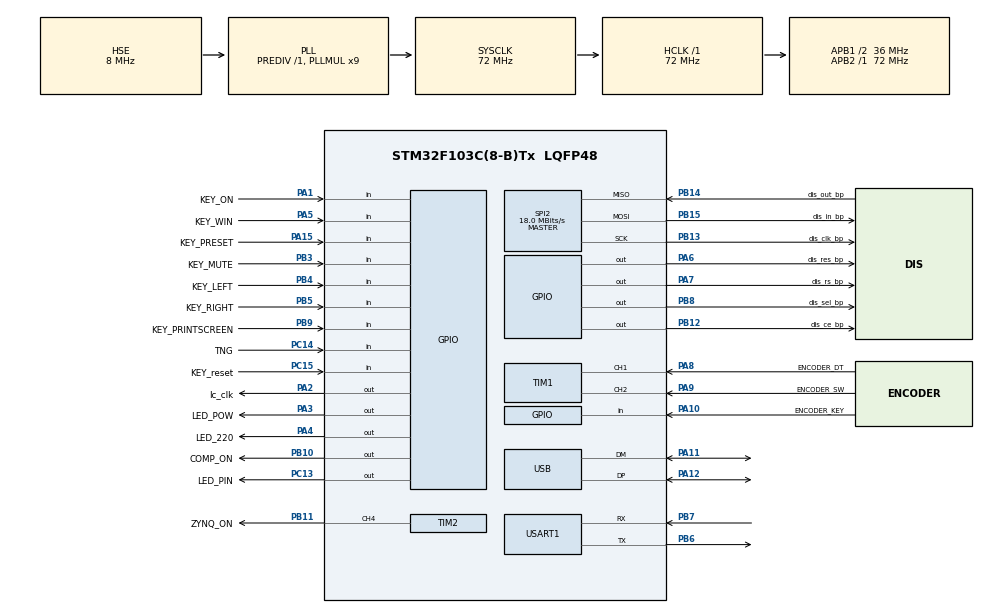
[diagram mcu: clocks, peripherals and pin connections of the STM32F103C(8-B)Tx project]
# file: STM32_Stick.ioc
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Dma.Request0=USART1_RX
Dma.Request1=USART1_TX
Dma.USART1_RX.0.Direction=DMA_PERIPH_TO_MEMORY
Dma.USART1_RX.0.Instance=DMA1_Channel5
Dma.USART1_RX.0.MemDataAlignment=DMA_MDATAALIGN_BYTE
Dma.USART1_RX.0.MemInc=DMA_MINC_ENABLE
Dma.USART1_RX.0.Mode=DMA_NORMAL
Dma.USART1_RX.0.PeriphDataAlignment=DMA_PDATAALIGN_BYTE
Dma.USART1_RX.0.PeriphInc=DMA_PINC_DISABLE
Dma.USART1_RX.0.Priority=DMA_PRIORITY_LOW
Dma.USART1_TX.1.Direction=DMA_MEMORY_TO_PERIPH
Dma.USART1_TX.1.Instance=DMA1_Channel4
Dma.USART1_TX.1.MemDataAlignment=DMA_MDATAALIGN_BYTE
Dma.USART1_TX.1.MemInc=DMA_MINC_ENABLE
Dma.USART1_TX.1.Mode=DMA_NORMAL
Dma.USART1_TX.1.PeriphDataAlignment=DMA_PDATAALIGN_BYTE
Dma.USART1_TX.1.PeriphInc=DMA_PINC_DISABLE
Dma.USART1_TX.1.Priority=DMA_PRIORITY_LOW
Mcu.Family=STM32F1
Mcu.Name=STM32F103C(8-B)Tx
Mcu.Package=LQFP48
NVIC.DMA1_Channel4_IRQn=true\:0\:0\:false\:false\:true\:false\:true\:true
NVIC.DMA1_Channel5_IRQn=true\:0\:0\:false\:false\:true\:false\:true\:true
NVIC.PriorityGroup=NVIC_PRIORITYGROUP_4
NVIC.TIM1_BRK_IRQn=true\:0\:0\:false\:false\:true\:true\:true\:true
NVIC.TIM1_CC_IRQn=true\:0\:0\:false\:false\:true\:true\:true\:true
NVIC.TIM1_TRG_COM_IRQn=true\:0\:0\:false\:false\:true\:true\:true\:true
NVIC.TIM1_UP_IRQn=true\:0\:0\:false\:false\:true\:true\:true\:true
NVIC.TIM2_IRQn=true\:0\:0\:false\:false\:true\:true\:true\:true
NVIC.USART1_IRQn=true\:0\:0\:false\:false\:true\:true\:true\:true
NVIC.USB_LP_CAN1_RX0_IRQn=true\:0\:0\:false\:false\:true\:false\:true\:true
PA1.GPIO_Label=KEY_ON
PA1.Signal=GPIO_Input
PA10.GPIO_Label=ENCODER_KEY
PA10.GPIO_PuPd=GPIO_PULLUP
PA10.Signal=GPIO_Input
PA11.Mode=Device
PA11.Signal=USB_DM
PA12.Mode=Device
PA12.Signal=USB_DP
PA13.Mode=Serial_Wire
PA13.Signal=SYS_JTMS-SWDIO
PA14.Mode=Serial_Wire
PA14.Signal=SYS_JTCK-SWCLK
PA15.GPIO_Label=KEY_PRESET
PA15.Signal=GPIO_Input
PA2.GPIO_Label=lc_clk
PA2.Signal=GPIO_Output
PA3.GPIO_Label=LED_POW
PA3.Signal=GPIO_Output
PA4.GPIO_Label=LED_220
PA4.Signal=GPIO_Output
PA5.GPIO_Label=KEY_WIN
PA5.Signal=GPIO_Input
PA6.GPIO_Label=dis_res_bp
PA6.Signal=GPIO_Output
PA7.GPIO_Label=dis_rs_bp
PA7.Signal=GPIO_Output
PA8.GPIO_Label=ENCODER_DT
PA8.GPIO_PuPd=GPIO_PULLUP
PA8.Signal=S_TIM1_CH1
PA9.GPIO_Label=ENCODER_SW
PA9.GPIO_PuPd=GPIO_PULLUP
PA9.Signal=S_TIM1_CH2
PB10.GPIO_Label=COMP_ON
PB10.Signal=GPIO_Output
PB11.GPIO_Label=ZYNQ_ON
PB11.Signal=S_TIM2_CH4
PB12.GPIO_Label=dis_ce_bp
PB12.Signal=GPIO_Output
PB13.GPIO_Label=dis_clk_bp
PB13.Mode=Full_Duplex_Master
PB13.Signal=SPI2_SCK
PB14.GPIO_Label=dis_out_bp
PB14.Mode=Full_Duplex_Master
PB14.Signal=SPI2_MISO
PB15.GPIO_Label=dis_in_bp
PB15.Mode=Full_Duplex_Master
PB15.Signal=SPI2_MOSI
PB3.GPIO_Label=KEY_MUTE
PB3.Signal=GPIO_Input
PB4.GPIO_Label=KEY_LEFT
PB4.Signal=GPIO_Input
PB5.GPIO_Label=KEY_RIGHT
PB5.Signal=GPIO_Input
PB6.Mode=Asynchronous
PB6.Signal=USART1_TX
PB7.Mode=Asynchronous
PB7.Signal=USART1_RX
PB8.GPIO_Label=dis_sel_bp
PB8.Signal=GPIO_Output
PB9.GPIO_Label=KEY_PRINTSCREEN
PB9.Signal=GPIO_Input
PC13-TAMPER-RTC.GPIO_Label=LED_PIN
PC13-TAMPER-RTC.GPIO_ModeDefaultOutputPP=GPIO_MODE_OUTPUT_OD
PC13-TAMPER-RTC.GPIO_PuPd=GPIO_NOPULL
PC13-TAMPER-RTC.Signal=GPIO_Output
PC14-OSC32_IN.GPIO_Label=TNG
PC14-OSC32_IN.Signal=GPIO_Input
PC15-OSC32_OUT.GPIO_Label=KEY_reset
PC15-OSC32_OUT.Signal=GPIO_Input
PD0-OSC_IN.Mode=HSE-External-Oscillator
PD0-OSC_IN.Signal=RCC_OSC_IN
PD1-OSC_OUT.Mode=HSE-External-Oscillator
PD1-OSC_OUT.Signal=RCC_OSC_OUT
ProjectManager.HeapSize=0x200
ProjectManager.StackSize=0x400
ProjectManager.TargetToolchain=MDK-ARM V5.32
RCC.AHBFreq_Value=72000000
RCC.APB1CLKDivider=RCC_HCLK_DIV2
RCC.APB1Freq_Value=36000000
RCC.APB1TimFreq_Value=72000000
RCC.APB2Freq_Value=72000000
RCC.APB2TimFreq_Value=72000000
RCC.HCLKFreq_Value=72000000
RCC.PLLMUL=RCC_PLL_MUL9
RCC.PLLSourceVirtual=RCC_PLLSOURCE_HSE
RCC.SYSCLKFreq_VALUE=72000000
RCC.SYSCLKSource=RCC_SYSCLKSOURCE_PLLCLK
RCC.USBFreq_Value=48000000
RCC.USBPrescaler=RCC_USBCLKSOURCE_PLL_DIV1_5
SH.S_TIM1_CH1.0=TIM1_CH1,Encoder_Interface
SH.S_TIM1_CH2.0=TIM1_CH2,Encoder_Interface
SH.S_TIM2_CH4.0=TIM2_CH4,PWM Generation4 CH4
SPI2.CalculateBaudRate=18.0 MBits/s
SPI2.Direction=SPI_DIRECTION_2LINES
SPI2.Mode=SPI_MODE_MASTER
SPI2.VirtualType=VM_MASTER
TIM2.Channel-PWM\ Generation4\ CH4=TIM_CHANNEL_4
USART1.VirtualMode=VM_ASYNC
USB_DEVICE.CLASS_NAME_FS=CUSTOM_HID
USB_DEVICE.USBD_CUSTOM_HID_REPORT_DESC_SIZE=155
USB_DEVICE.VirtualMode=CustomHid
USB_DEVICE.VirtualModeFS=Custom_Hid_FS
VP_CRC_VS_CRC.Mode=CRC_Activate
VP_TIM2_VS_ClockSourceINT.Mode=Internal
VP_USB_DEVICE_VS_USB_DEVICE_CUSTOM_HID_FS.Mode=CUSTOM_HID_FS
board=custom

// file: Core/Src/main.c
/* USER CODE BEGIN Header */
/**
  ******************************************************************************
  * @file           : main.c
  * @brief          : Main program body
  ******************************************************************************
  * @attention
  *
  * Copyright (c) 2025 STMicroelectronics.
  * All rights reserved.
  *
  * This software is licensed under terms that can be found in the LICENSE file
  * in the root directory of this software component.
  * If no LICENSE file comes with this software, it is provided AS-IS.
  *
  ******************************************************************************
  */
/* USER CODE END Header */
#include "main.h"
#include "crc.h"
#include "dma.h"
#include "spi.h"
#include "tim.h"
#include "usart.h"
#include "usb_device.h"
#include "gpio.h"

/* USER CODE BEGIN Includes */
#include "usbd_hid.h"
#include "stdbool.h"
#include "button_handler.h"
#include "encoder_handler.h"
#include "button_actions.h"
#include "combo_resolver.h"
#include "hid_codes.h"
#include "power_fsm.h"
#include "hid_queue.h"
#include "led_ctrl.h"
/* USER CODE END Includes */

void SystemClock_Config(void);

int main(void)
{

  /* MCU Configuration--------------------------------------------------------*/

  /* Reset of all peripherals, Initializes the Flash interface and the Systick. */
  HAL_Init();

  /* Configure the system clock */
  SystemClock_Config();

  /* Initialize all configured peripherals */
  MX_GPIO_Init();
  MX_DMA_Init();
  MX_TIM1_Init();
  MX_USB_DEVICE_Init();
  MX_SPI2_Init();
  MX_USART1_UART_Init();
  MX_CRC_Init();
  MX_TIM2_Init();
  /* USER CODE BEGIN 2 */
    PowerLed_Set(LED_STATE_OFF);
	HAL_NVIC_EnableIRQ(TIM1_UP_IRQn);
	HAL_TIM_Encoder_Start(&htim1, TIM_CHANNEL_ALL);
	PowerFSM_Init();
	System_Init_Buttons();
	Combo_Init();
	HID_Queue_Init();
  /* USER CODE END 2 */

  /* Infinite loop */
  /* USER CODE BEGIN WHILE */
    LED_Init();
	//LED_Set(LED_ERR, false);
    LED_Set(LED_OK, false);
    LED_Set(LED_REMOTE, false);
    LED_Set(LED_BUSY, false);
    LED_Set(LED_RX, false);
    LED_Set(LED_TX, false);
    LED_Set(LED_ATTOFF, false);
    LED_Set(LED_OVPOW, false);

//	LED_Set(LED_ERR, true);
//	LED_Update();
//	HAL_Delay(500);
//	LED_Set(LED_ERR, false);
//
//	LED_Set(LED_OK, true);
//	LED_Update();
//	HAL_Delay(500);
//	LED_Set(LED_OK, false);
//
//	LED_Set(LED_REMOTE, true);
//	LED_Update();
//	HAL_Delay(500);
//	LED_Set(LED_REMOTE, false);
//
//	LED_Set(LED_BUSY, true);
//	LED_Update();
//	HAL_Delay(500);
//	LED_Set(LED_BUSY, false);
//
//	LED_Set(LED_RX, true);
//	LED_Update();
//	HAL_Delay(500);
//	LED_Set(LED_RX, false);
//
//	LED_Set(LED_TX, true);
//	LED_Update();
//	HAL_Delay(500);
//	LED_Set(LED_TX, false);
//
//	LED_Set(LED_ATTOFF, true);
//	LED_Update();
//	HAL_Delay(500);
//	LED_Set(LED_ATTOFF, false);
//
//	LED_Set(LED_OVPOW, true);
//	LED_Update();
//	HAL_Delay(500);
//	LED_Set(LED_OVPOW, false);
//
//	LED_Update();
//	HAL_Delay(500);
	// Задержка для установления режима работы блока питания
	//HAL_Delay(3000);
	PowerLed_Set(LED_STATE_YELLOW);

//	LED_Set(LED_RX, true);   // Зажечь RX
//    LED_Set(LED_BUSY, true); // Зажечь BUSY
//    LED_Set(LED_ERR, false); // Погасить ERR
//    LED_Update();
	while (1)
	{
		HandleEncoder();
		HandleSatusPC();
		PowerFSM_Tick();

		// Опрос всех кнопок
		for (int i = 0; i < NUM_BUTTONS; i++) {
            HandleButton(&buttons[i]);
        }

		// Сбор событий для комбинаций
        for (int i = 0; i < NUM_BUTTONS; i++) {
            button_event_t evt = GetButtonEvent(&buttons[i]);
            Combo_AddEvent(i, evt);
        }

		// Разрешение комбинаций
        Combo_Tick();
		HID_Queue_Tick();
    /* USER CODE END WHILE */

	}
}

void SystemClock_Config(void)
{
  RCC_OscInitTypeDef RCC_OscInitStruct = {0};
  RCC_ClkInitTypeDef RCC_ClkInitStruct = {0};
  RCC_PeriphCLKInitTypeDef PeriphClkInit = {0};

  /** Initializes the RCC Oscillators according to the specified parameters
  * in the RCC_OscInitTypeDef structure.
  */
  RCC_OscInitStruct.OscillatorType = RCC_OSCILLATORTYPE_HSE;
  RCC_OscInitStruct.HSEState = RCC_HSE_ON;
  RCC_OscInitStruct.HSEPredivValue = RCC_HSE_PREDIV_DIV1;
  RCC_OscInitStruct.HSIState = RCC_HSI_ON;
  RCC_OscInitStruct.PLL.PLLState = RCC_PLL_ON;
  RCC_OscInitStruct.PLL.PLLSource = RCC_PLLSOURCE_HSE;
  RCC_OscInitStruct.PLL.PLLMUL = RCC_PLL_MUL9;
  if (HAL_RCC_OscConfig(&RCC_OscInitStruct) != HAL_OK)
  {
    Error_Handler();
  }

  /** Initializes the CPU, AHB and APB buses clocks
  */
  RCC_ClkInitStruct.ClockType = RCC_CLOCKTYPE_HCLK|RCC_CLOCKTYPE_SYSCLK
                              |RCC_CLOCKTYPE_PCLK1|RCC_CLOCKTYPE_PCLK2;
  RCC_ClkInitStruct.SYSCLKSource = RCC_SYSCLKSOURCE_PLLCLK;
  RCC_ClkInitStruct.AHBCLKDivider = RCC_SYSCLK_DIV1;
  RCC_ClkInitStruct.APB1CLKDivider = RCC_HCLK_DIV2;
  RCC_ClkInitStruct.APB2CLKDivider = RCC_HCLK_DIV1;

  if (HAL_RCC_ClockConfig(&RCC_ClkInitStruct, FLASH_LATENCY_2) != HAL_OK)
  {
    Error_Handler();
  }
  PeriphClkInit.PeriphClockSelection = RCC_PERIPHCLK_USB;
  PeriphClkInit.UsbClockSelection = RCC_USBCLKSOURCE_PLL_DIV1_5;
  if (HAL_RCCEx_PeriphCLKConfig(&PeriphClkInit) != HAL_OK)
  {
    Error_Handler();
  }
}

void Error_Handler(void)
{
  __disable_irq();
  while (1)
  {
  }
}
